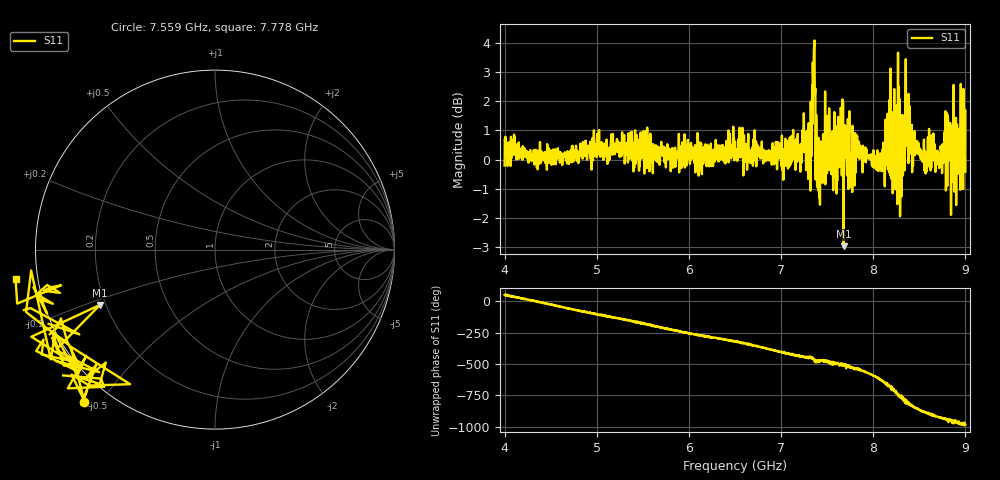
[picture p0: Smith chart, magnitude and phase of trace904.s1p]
! Created with skrf 1.8.0 (http://scikit-rf.org).
# Hz S RI R 50.0
!freq ReS11 ImS11
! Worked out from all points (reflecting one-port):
!   1601 points, 4 GHz to 9 GHz, reference 50 ohm
!   lowest |S11| = -3.0 dB at 7.678 GHz (marker M1), VSWR 5.93, Z = 8.86 - j11.1 ohm
!   phase of S11 starts at 52 deg and turns -1034 deg over the sweep
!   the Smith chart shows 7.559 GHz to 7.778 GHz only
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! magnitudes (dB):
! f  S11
! 4 GHz  -0.2
! 4.625 GHz  -0.2
! 5.25 GHz  0.3
! 5.875 GHz  0.1
! 6.5 GHz  0.6
! 7.125 GHz  0.3
! 7.294 GHz  -0.7
! 7.316 GHz  -0.6
! 7.347 GHz  2.8
! 7.369 GHz  2.3
! 7.397 GHz  -0.3
! 7.412 GHz  -0.2
! 7.503 GHz  1.5
! 7.584 GHz  -0.4
! 7.678 GHz  -3.0
! 7.75 GHz  0.1
! 7.844 GHz  0.6
! 8.075 GHz  0.2
! 8.162 GHz  -0.3
! 8.228 GHz  2.4
! 8.253 GHz  0.4
! 8.312 GHz  1.5
! 8.334 GHz  0.6
! 8.375 GHz  1.3
! 8.431 GHz  -0.2
! 8.556 GHz  -0.4
! 8.972 GHz  0.3
! 9 GHz  -0.4
